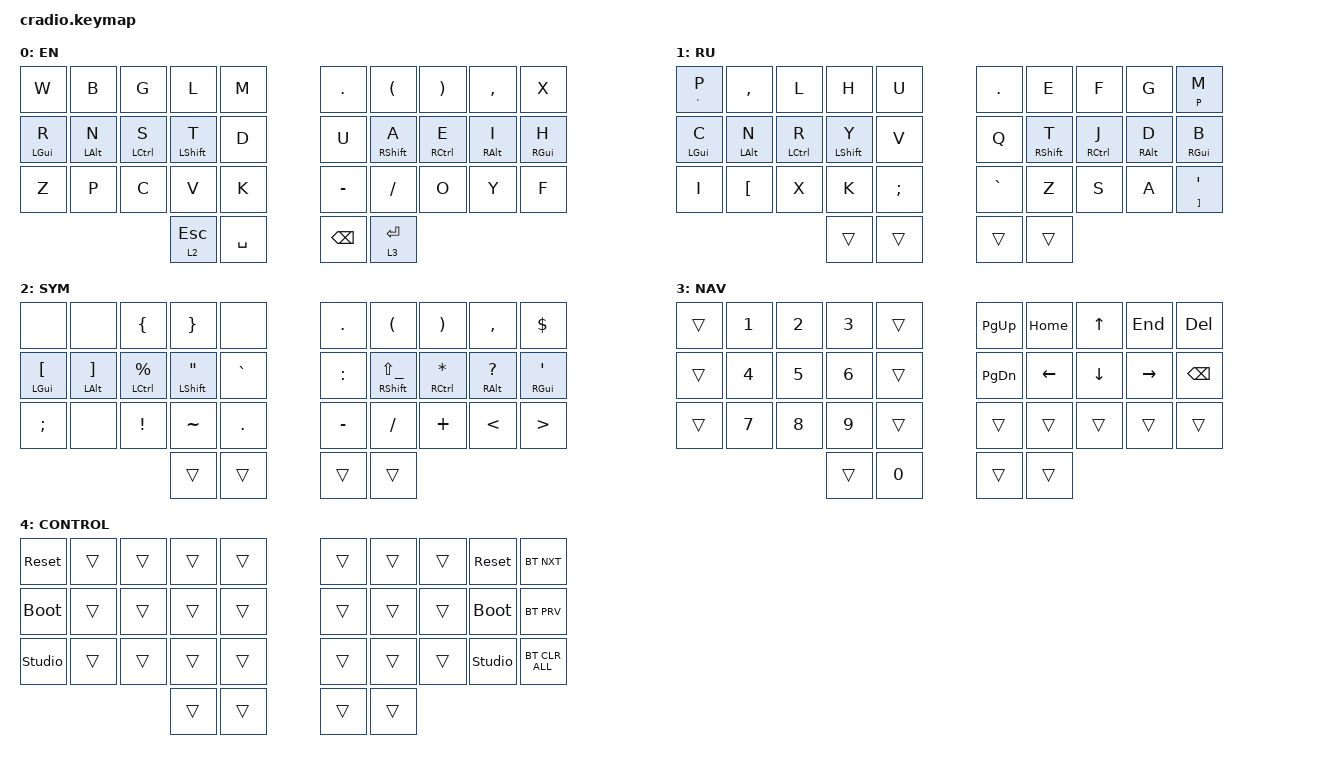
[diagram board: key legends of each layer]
// Copyright (c) 2022 The ZMK Contributors
// SPDX-License-Identifier: MIT

#include <behaviors.dtsi>
#include <dt-bindings/zmk/bt.h>
#include <dt-bindings/zmk/keys.h>

/ {
    behaviors {
        ht: hold_tap {
            compatible = "zmk,behavior-hold-tap";
            #binding-cells = <2>;
            flavor = "tap-preferred";
            tapping-term-ms = <220>;
            quick-tap-ms = <150>;
            require-prior-idle-ms = <100>;
            bindings = <&kp>, <&kp>;
        };

        hrm: hrm {
            compatible = "zmk,behavior-hold-tap";
            #binding-cells = <2>;
            flavor = "tap-preferred";
            tapping-term-ms = <200>;
            quick-tap-ms = <200>;
            require-prior-idle-ms = <125>;
            bindings = <&kp>, <&kp>;
        };
    };

    conditional_layers {
        compatible = "zmk,conditional-layers";

        control {
            if-layers = <2 3>;
            then-layer = <4>;
        };
    };

    combos {
        compatible = "zmk,combos";

        ru-en {
            bindings = <&lang_switch>;
            key-positions = <10 20>;
            layers = <0 1>;
        };

        tab {
            bindings = <&kp TAB>;
            key-positions = <0 10>;
            layers = <0 1>;
        };
    
        zmkopt_0 {
            bindings = <&kp W>;
            key-positions = <1 11>;
            layers = <1>;
        };

        zmkopt_1 {
            bindings = <&kp O>;
            key-positions = <2 12>;
            layers = <1>;
        };

        zmkopt_2 {
            bindings = <&kp RBKT>;
            key-positions = <17 27>;
            layers = <1>;
        };

        zmkopt_3 {
            bindings = <&kp Q>;
            key-positions = <1 11>;
            layers = <0>;
        };

        zmkopt_4 {
            bindings = <&kp J>;
            key-positions = <3 13>;
            layers = <0>;
        };

        zmkopt_5 {
            bindings = <&kp SEMI>;
            key-positions = <5 15>;
            layers = <0>;
        };

        zmkopt_6 {
            bindings = <&kp EQUAL>;
            key-positions = <6 16>;
            layers = <0 1>;
        };

        zmkopt_7 {
            bindings = <&kp PIPE>;
            key-positions = <7 17>;
            layers = <0>;
        };

        zmkopt_8 {
            bindings = <&kp BSLH>;
            key-positions = <8 18>;
            layers = <0>;
        };

        zmkopt_9 {
            bindings = <&kp HASH>;
            key-positions = <9 19>;
            layers = <0>;
        };

        zmkopt_10 {
            bindings = <&kp CARET>;
            key-positions = <15 25>;
            layers = <0>;
        };

        zmkopt_11 {
            bindings = <&kp AMPS>;
            key-positions = <16 26>;
            layers = <0>;
        };

        zmkopt_12 {
            bindings = <&kp AT>;
            key-positions = <17 27>;
            layers = <0>;
        };
};

    macros {
        lang_switch: lang_switch {
            compatible = "zmk,behavior-macro";
            #binding-cells = <0>;
            bindings = <&kp LG(SPACE) &tog 1>;
            label = "LANG_SWITCH";
        };
    };

    keymap {
        compatible = "zmk,keymap";

        EN {
            bindings = <
&kp W        &kp B        &kp G         &kp L         &kp M        &kp DOT          &kp LEFT_PARENTHESIS          &kp RIGHT_PARENTHESIS        &kp COMMA        &kp X
&hrm LGUI R  &hrm LALT N  &hrm LCTRL S  &hrm LSHFT T  &kp D        &kp U          &hrm RSHFT A  &hrm RCTRL E  &hrm RALT I  &hrm RGUI H
&kp Z        &kp P        &kp C         &kp V         &kp K        &kp MINUS          &kp FSLH         &kp O     &kp Y      &kp F
                                        &lt 2 ESC     &kp SPACE    &kp BACKSPACE  &lt 3 ENTER
            >;
        };

        RU {
            bindings = <
&ht GRAVE P  &kp COMMA        &kp L         &kp H          &kp U     &kp DOT   &kp E         &kp F         &kp G        &ht P M
&hrm LGUI C  &hrm LALT N  &hrm LCTRL R  &hrm LSHIFT Y  &kp V     &kp Q   &hrm RSHFT T  &hrm RCTRL J  &hrm RALT D  &hrm RGUI B
&kp I        &kp LEFT_BRACKET        &kp X         &kp K          &kp SEMI     &kp GRAVE   &kp Z         &kp S     &kp A      &ht RIGHT_BRACKET SQT
                                        &trans         &trans    &trans  &trans
            >;
        };

        SYM {
            bindings = <
&none        &none      &kp LBRC              &kp RBRC               &none             &kp DOT       &kp LEFT_PARENTHESIS    &kp RIGHT_PARENTHESIS  &kp COMMA     &kp DOLLAR
&hrm LGUI LBKT  &hrm LALT RBKT  &hrm LCTRL PERCENT  &hrm LSHFT DOUBLE_QUOTES  &kp GRAVE    &kp COLON       &hrm RSHFT LS(UNDERSCORE)  &hrm RCTRL STAR  &hrm RALT QUESTION  &hrm RGUI SQT
&kp SEMI      &none  &kp EXCLAMATION         &kp TILDE       &kp DOT            &kp MINUS  &kp FSLH   &kp PLUS  &kp LESS_THAN     &kp GREATER_THAN
                                                   &trans                 &trans               &trans         &trans
            >;
        };

        NAV {
            bindings = <
&trans  &kp N1  &kp N2  &kp N3  &trans    &kp PG_UP  &kp HOME  &kp UP    &kp END    &kp DEL
&trans  &kp N4  &kp N5  &kp N6  &trans    &kp PG_DN  &kp LEFT  &kp DOWN  &kp RIGHT  &kp BSPC
&trans  &kp N7  &kp N8  &kp N9  &trans    &trans     &trans    &trans    &trans     &trans
                        &trans  &kp N0    &trans     &trans
            >;
        };

        CONTROL {
            bindings = <
&sys_reset      &trans  &trans  &trans  &trans    &trans  &trans  &trans  &sys_reset      &bt BT_NXT
&bootloader     &trans  &trans  &trans  &trans    &trans  &trans  &trans  &bootloader     &bt BT_PRV
&studio_unlock  &trans  &trans  &trans  &trans    &trans  &trans  &trans  &studio_unlock  &bt BT_CLR_ALL
                                &trans  &trans    &trans  &trans
            >;
        };
    };
};
